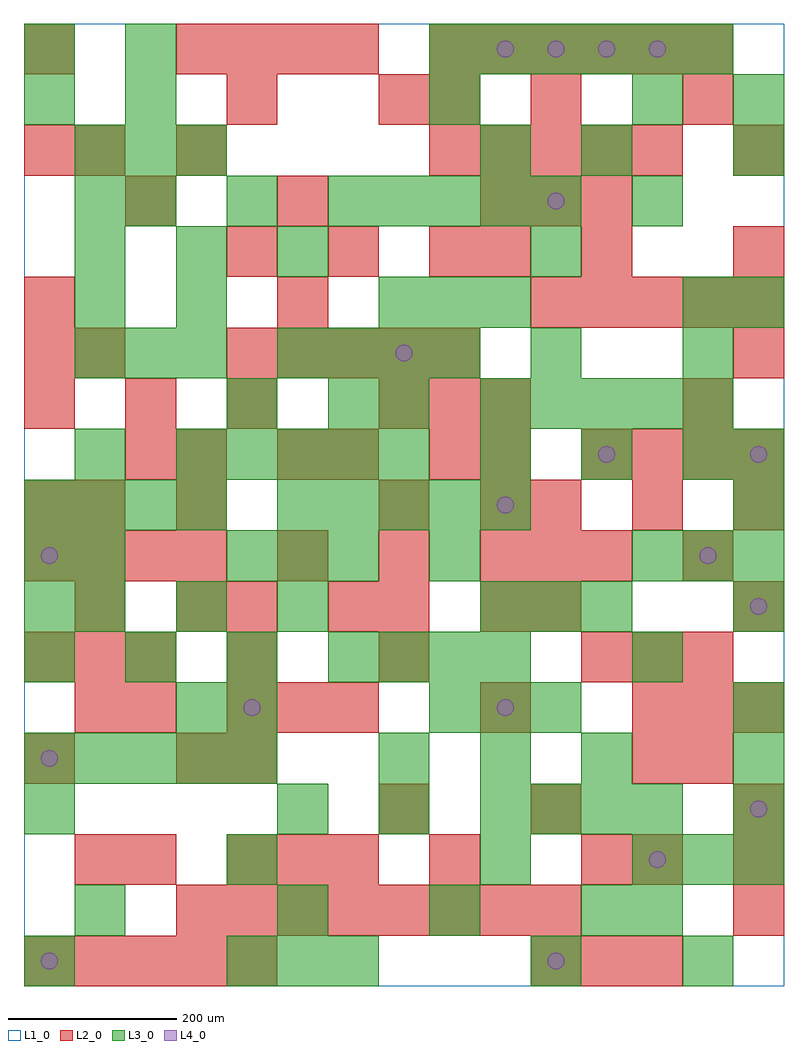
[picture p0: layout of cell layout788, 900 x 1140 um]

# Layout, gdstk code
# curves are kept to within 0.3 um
import gdstk
lib = gdstk.Library(unit=1e-6, precision=1e-09)
def R(c, l, rs):  # rectangles x0, y0, x1, y1
    for r in rs: c.add(gdstk.rectangle(r[:2], r[2:], *l))
def A(c, l, x, y, w, h, nx, ny, dx, dy):  # array of equal rectangles
    R(c, l, [(x+i*dx, y+j*dy, x+i*dx+w, y+j*dy+h) for i in range(nx) for j in range(ny)])
def P(c, l, *ps):  # polygons
    for p in ps: c.add(gdstk.Polygon(p, *l))
L1_0 = (1, 0)
L2_0 = (2, 0)
L3_0 = (3, 0)
L4_0 = (4, 0)

layout788 = lib.new_cell('layout788')
R(layout788, L1_0, [(0,0,900,1140)])
A(layout788, L2_0, 0, 0, 60, 60, 5, 1, 60, 0)
A(layout788, L2_0, 600, 0, 60, 60, 3, 1, 60, 0)
A(layout788, L2_0, 180, 60, 60, 60, 8, 1, 60, 0)
A(layout788, L2_0, 840, 60, 60, 60, 1, 3, 0, 60)
A(layout788, L2_0, 240, 120, 60, 60, 3, 2, 60, 180)
A(layout788, L2_0, 660, 120, 60, 60, 1, 3, 0, 360)
A(layout788, L2_0, 60, 300, 60, 60, 1, 3, 0, 120)
A(layout788, L2_0, 120, 300, 60, 60, 1, 3, 0, 300)
A(layout788, L2_0, 540, 300, 60, 60, 1, 3, 0, 120)
A(layout788, L2_0, 720, 300, 60, 60, 3, 1, 60, 0)
A(layout788, L2_0, 0, 360, 60, 60, 3, 1, 60, 0)
A(layout788, L2_0, 660, 360, 60, 60, 3, 1, 60, 0)
A(layout788, L2_0, 0, 480, 60, 60, 4, 1, 60, 0)
A(layout788, L2_0, 300, 480, 60, 60, 3, 1, 120, 0)
A(layout788, L2_0, 600, 540, 60, 60, 3, 1, 120, 0)
A(layout788, L2_0, 660, 600, 60, 60, 4, 2, 60, 180)
A(layout788, L2_0, 0, 660, 60, 60, 3, 1, 120, 0)
A(layout788, L2_0, 420, 660, 60, 60, 3, 1, 60, 0)
A(layout788, L2_0, 240, 720, 60, 60, 5, 1, 60, 0)
A(layout788, L2_0, 840, 720, 60, 60, 1, 3, 0, 120)
A(layout788, L2_0, 0, 780, 60, 60, 3, 1, 300, 0)
A(layout788, L2_0, 240, 840, 60, 60, 3, 1, 120, 0)
A(layout788, L2_0, 540, 900, 60, 60, 3, 1, 60, 0)
A(layout788, L2_0, 480, 960, 60, 60, 5, 1, 60, 0)
A(layout788, L2_0, 180, 1080, 60, 60, 4, 1, 60, 0)
A(layout788, L2_0, 480, 1080, 60, 60, 6, 1, 60, 0)
R(layout788, L2_0, [(60,120,120,180), (120,120,180,180), (480,120,540,180), (720,120,780,180), (420,180,480,240), (600,180,660,240), (0,240,60,300), (180,240,240,300), (240,240,300,300), (720,240,780,300), (780,240,840,300), (240,360,300,420), (420,360,480,420), (180,420,240,480), (240,420,300,480), (360,420,420,480), (420,420,480,480), (600,420,660,480), (840,420,900,480), (600,480,660,540), (780,480,840,540), (0,540,60,600), (180,540,240,600), (420,540,480,600), (180,600,240,660), (300,600,360,660), (360,600,420,660), (480,600,540,660), (540,600,600,660), (780,660,840,720), (0,720,60,780), (60,720,120,780), (540,840,600,900), (300,900,360,960), (0,960,60,1020), (60,960,120,1020), (180,960,240,1020), (240,1020,300,1080), (420,1020,480,1080), (480,1020,540,1080), (600,1020,660,1080), (780,1020,840,1080), (0,1080,60,1140)])
A(layout788, L3_0, 240, 0, 60, 60, 3, 2, 60, 480)
A(layout788, L3_0, 300, 60, 60, 60, 3, 1, 180, 0)
A(layout788, L3_0, 720, 120, 60, 60, 3, 2, 60, 360)
A(layout788, L3_0, 300, 180, 60, 60, 3, 1, 120, 0)
A(layout788, L3_0, 600, 180, 60, 60, 3, 1, 60, 0)
A(layout788, L3_0, 840, 180, 60, 60, 1, 3, 0, 60)
A(layout788, L3_0, 0, 240, 60, 60, 5, 1, 60, 0)
A(layout788, L3_0, 420, 240, 60, 60, 3, 1, 120, 0)
A(layout788, L3_0, 480, 300, 60, 60, 3, 1, 60, 0)
A(layout788, L3_0, 0, 360, 60, 60, 4, 1, 120, 0)
A(layout788, L3_0, 420, 360, 60, 60, 3, 2, 60, 420)
A(layout788, L3_0, 60, 420, 60, 60, 3, 2, 120, 420)
A(layout788, L3_0, 540, 420, 60, 60, 3, 1, 60, 0)
A(layout788, L3_0, 0, 540, 60, 60, 4, 1, 60, 0)
A(layout788, L3_0, 300, 540, 60, 60, 5, 1, 60, 0)
A(layout788, L3_0, 180, 600, 60, 60, 5, 1, 60, 0)
A(layout788, L3_0, 540, 600, 60, 60, 3, 1, 120, 0)
A(layout788, L3_0, 840, 600, 60, 60, 1, 3, 0, 180)
A(layout788, L3_0, 540, 660, 60, 60, 5, 1, 60, 0)
A(layout788, L3_0, 60, 720, 60, 60, 3, 2, 60, 240)
A(layout788, L3_0, 300, 720, 60, 60, 4, 1, 60, 0)
A(layout788, L3_0, 120, 900, 60, 60, 3, 1, 120, 0)
A(layout788, L3_0, 420, 900, 60, 60, 4, 1, 60, 0)
A(layout788, L3_0, 480, 1080, 60, 60, 6, 1, 60, 0)
R(layout788, L3_0, [(0,0,60,60), (600,0,660,60), (780,0,840,60), (60,60,120,120), (720,60,780,120), (240,120,300,180), (540,120,600,180), (0,180,60,240), (180,300,240,360), (240,300,300,360), (720,360,780,420), (0,420,60,480), (840,420,900,480), (0,480,60,540), (60,480,120,540), (480,480,540,540), (840,540,900,600), (60,600,120,660), (240,660,300,720), (360,660,420,720), (420,660,480,720), (600,720,660,780), (780,720,840,780), (60,780,120,840), (180,780,240,840), (780,780,840,840), (600,840,660,900), (60,900,120,960), (720,900,780,960), (540,960,600,1020), (660,960,720,1020), (0,1020,60,1080), (120,1020,180,1080), (480,1020,540,1080), (720,1020,780,1080), (840,1020,900,1080), (0,1080,60,1140), (120,1080,180,1140)])
P(layout788, L4_0, [(40,30),(39.239,33.827),(37.071,37.071),(33.827,39.239),(30,40),(26.173,39.239),(22.929,37.071),(20.761,33.827),(20,30),(20.761,26.173),(22.929,22.929),(26.173,20.761),(30,20),(33.827,20.761),(37.071,22.929),(39.239,26.173)],
  [(40,270),(39.239,273.827),(37.071,277.071),(33.827,279.239),(30,280),(26.173,279.239),(22.929,277.071),(20.761,273.827),(20,270),(20.761,266.173),(22.929,262.929),(26.173,260.761),(30,260),(33.827,260.761),(37.071,262.929),(39.239,266.173)],
  [(40,510),(39.239,513.827),(37.071,517.071),(33.827,519.239),(30,520),(26.173,519.239),(22.929,517.071),(20.761,513.827),(20,510),(20.761,506.173),(22.929,502.929),(26.173,500.761),(30,500),(33.827,500.761),(37.071,502.929),(39.239,506.173)],
  [(280,330),(279.239,333.827),(277.071,337.071),(273.827,339.239),(270,340),(266.173,339.239),(262.929,337.071),(260.761,333.827),(260,330),(260.761,326.173),(262.929,322.929),(266.173,320.761),(270,320),(273.827,320.761),(277.071,322.929),(279.239,326.173)],
  [(460,750),(459.239,753.827),(457.071,757.071),(453.827,759.239),(450,760),(446.173,759.239),(442.929,757.071),(440.761,753.827),(440,750),(440.761,746.173),(442.929,742.929),(446.173,740.761),(450,740),(453.827,740.761),(457.071,742.929),(459.239,746.173)],
  [(580,330),(579.239,333.827),(577.071,337.071),(573.827,339.239),(570,340),(566.173,339.239),(562.929,337.071),(560.761,333.827),(560,330),(560.761,326.173),(562.929,322.929),(566.173,320.761),(570,320),(573.827,320.761),(577.071,322.929),(579.239,326.173)],
  [(580,570),(579.239,573.827),(577.071,577.071),(573.827,579.239),(570,580),(566.173,579.239),(562.929,577.071),(560.761,573.827),(560,570),(560.761,566.173),(562.929,562.929),(566.173,560.761),(570,560),(573.827,560.761),(577.071,562.929),(579.239,566.173)],
  [(580,1110),(579.239,1113.827),(577.071,1117.071),(573.827,1119.239),(570,1120),(566.173,1119.239),(562.929,1117.071),(560.761,1113.827),(560,1110),(560.761,1106.173),(562.929,1102.929),(566.173,1100.761),(570,1100),(573.827,1100.761),(577.071,1102.929),(579.239,1106.173)],
  [(640,30),(639.239,33.827),(637.071,37.071),(633.827,39.239),(630,40),(626.173,39.239),(622.929,37.071),(620.761,33.827),(620,30),(620.761,26.173),(622.929,22.929),(626.173,20.761),(630,20),(633.827,20.761),(637.071,22.929),(639.239,26.173)],
  [(640,930),(639.239,933.827),(637.071,937.071),(633.827,939.239),(630,940),(626.173,939.239),(622.929,937.071),(620.761,933.827),(620,930),(620.761,926.173),(622.929,922.929),(626.173,920.761),(630,920),(633.827,920.761),(637.071,922.929),(639.239,926.173)],
  [(640,1110),(639.239,1113.827),(637.071,1117.071),(633.827,1119.239),(630,1120),(626.173,1119.239),(622.929,1117.071),(620.761,1113.827),(620,1110),(620.761,1106.173),(622.929,1102.929),(626.173,1100.761),(630,1100),(633.827,1100.761),(637.071,1102.929),(639.239,1106.173)],
  [(700,630),(699.239,633.827),(697.071,637.071),(693.827,639.239),(690,640),(686.173,639.239),(682.929,637.071),(680.761,633.827),(680,630),(680.761,626.173),(682.929,622.929),(686.173,620.761),(690,620),(693.827,620.761),(697.071,622.929),(699.239,626.173)],
  [(700,1110),(699.239,1113.827),(697.071,1117.071),(693.827,1119.239),(690,1120),(686.173,1119.239),(682.929,1117.071),(680.761,1113.827),(680,1110),(680.761,1106.173),(682.929,1102.929),(686.173,1100.761),(690,1100),(693.827,1100.761),(697.071,1102.929),(699.239,1106.173)],
  [(760,150),(759.239,153.827),(757.071,157.071),(753.827,159.239),(750,160),(746.173,159.239),(742.929,157.071),(740.761,153.827),(740,150),(740.761,146.173),(742.929,142.929),(746.173,140.761),(750,140),(753.827,140.761),(757.071,142.929),(759.239,146.173)],
  [(760,1110),(759.239,1113.827),(757.071,1117.071),(753.827,1119.239),(750,1120),(746.173,1119.239),(742.929,1117.071),(740.761,1113.827),(740,1110),(740.761,1106.173),(742.929,1102.929),(746.173,1100.761),(750,1100),(753.827,1100.761),(757.071,1102.929),(759.239,1106.173)],
  [(820,510),(819.239,513.827),(817.071,517.071),(813.827,519.239),(810,520),(806.173,519.239),(802.929,517.071),(800.761,513.827),(800,510),(800.761,506.173),(802.929,502.929),(806.173,500.761),(810,500),(813.827,500.761),(817.071,502.929),(819.239,506.173)],
  [(880,210),(879.239,213.827),(877.071,217.071),(873.827,219.239),(870,220),(866.173,219.239),(862.929,217.071),(860.761,213.827),(860,210),(860.761,206.173),(862.929,202.929),(866.173,200.761),(870,200),(873.827,200.761),(877.071,202.929),(879.239,206.173)],
  [(880,450),(879.239,453.827),(877.071,457.071),(873.827,459.239),(870,460),(866.173,459.239),(862.929,457.071),(860.761,453.827),(860,450),(860.761,446.173),(862.929,442.929),(866.173,440.761),(870,440),(873.827,440.761),(877.071,442.929),(879.239,446.173)],
  [(880,630),(879.239,633.827),(877.071,637.071),(873.827,639.239),(870,640),(866.173,639.239),(862.929,637.071),(860.761,633.827),(860,630),(860.761,626.173),(862.929,622.929),(866.173,620.761),(870,620),(873.827,620.761),(877.071,622.929),(879.239,626.173)])

lib.write_gds('layout788.gds')
